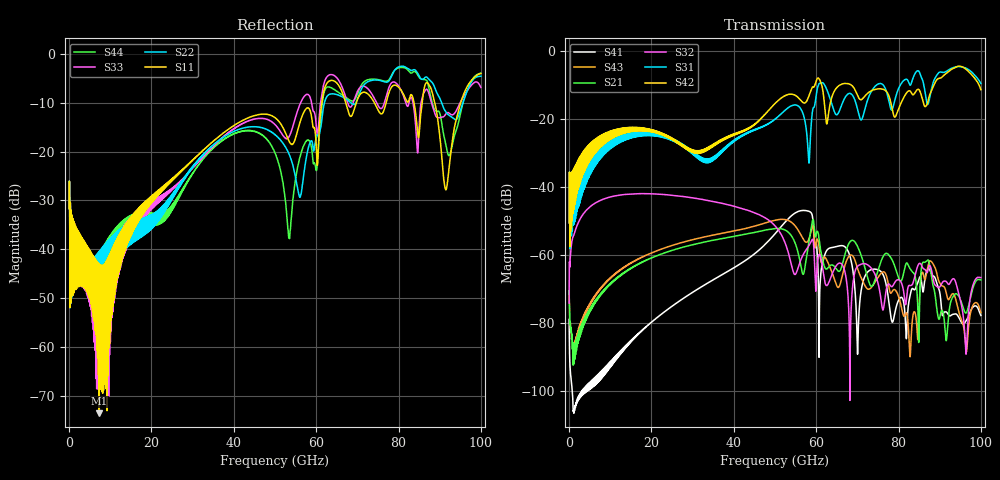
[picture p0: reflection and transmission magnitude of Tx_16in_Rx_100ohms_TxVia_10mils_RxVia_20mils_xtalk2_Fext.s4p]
! Info: Touchstone file created by Circ.  Input file=Tx_16in_Rx_100ohms_TxVia_10mils_RxVia_20mils1.circ
# Hz S RI R 50
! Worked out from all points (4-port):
!   10000 points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, 10 MHz to 100 GHz, reference 50 ohm
!   strongest paths, dB at 10 MHz, 25.01 GHz, 50.01 GHz, 75.01 GHz, 100 GHz:
!     S42: -50.5, -26.1, -15.4, -11.1, -11.3
!     S31: -50.5, -26.3, -20.0, -9.7, -9.5
!     S32: -74.1, -42.4, -51.3, -68.1, -66.6
!     S21: -70.5, -58.6, -52.2, -64.4, -67.2
!     S43: -70.5, -57.1, -49.7, -66.5, -76.9
!     S41: -78.9, -75.0, -53.7, -64.3, -77.7
!   lowest |S11| = -73.6 dB at 7.33 GHz (marker M1), VSWR 1.00, Z = 50 - j0.0198 ohm
!   |S11| at or under -10 dB: start of sweep to 61.37 GHz; 74.14 GHz to 76.99 GHz (2.848 GHz wide, 3.77 % of centre); 88.81 GHz to 95.1 GHz (6.281 GHz wide, 6.83 % of centre)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
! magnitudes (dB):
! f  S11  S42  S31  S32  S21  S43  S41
! 10 MHz  -31.7  -50.5  -50.5  -74.1  -70.5  -70.5  -78.9
! 7.33 GHz  -73.6  -26.5  -28.1  -44.0  -72.3  -70.4  -94.7
! 56.86 GHz  -12.2  -15.2  -18.5  -59.8  -65.6  -55.3  -46.8
! 70.09 GHz  -9.2  -13.2  -17.3  -63.2  -57.5  -64.0  -88.1
! 87.21 GHz  -6.1  -14.5  -15.5  -63.9  -61.4  -62.8  -64.0
! 91.49 GHz  -27.8  -6.7  -6.0  -67.6  -84.6  -70.6  -76.6
! 100 GHz  -4.0  -11.3  -9.5  -66.6  -67.2  -76.9  -77.7
